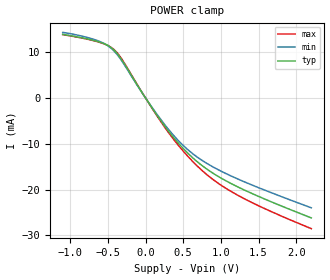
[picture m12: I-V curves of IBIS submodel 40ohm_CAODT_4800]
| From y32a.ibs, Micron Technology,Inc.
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| SUBMODEL 40ohm_CAODT_4800
[Submodel]   40ohm_CAODT_4800
Submodel_type  Dynamic_clamp
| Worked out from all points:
|   POWER clamp passes 1 mA (typ) near -0.04 V on its own axis
[POWER Clamp]
|   Voltage   I(typ)   I(min)   I(max)
-1.1V     13.96mA    14.36mA    13.87mA
-650.8mV  12.44mA    12.64mA    12.37mA
-513.3mV  11.6mA     11.58mA    11.59mA
-430.8mV  10.67mA    10.48mA    10.78mA
-311.7mV  8.245mA    8.016mA    8.437mA
0V        3.957uA    439.8nA    531.5nA
275mV     -6.593mA   -6.245mA   -6.87mA
481.3mV   -10.7mA    -10.08mA   -11.24mA
701.3mV   -14.13mA   -13.09mA   -15.1mA
935mV     -16.85mA   -15.42mA   -18.29mA
1.219V    -19.39mA   -17.66mA   -21.21mA
2.2V      -26.21mA   -24mA      -28.56mA
